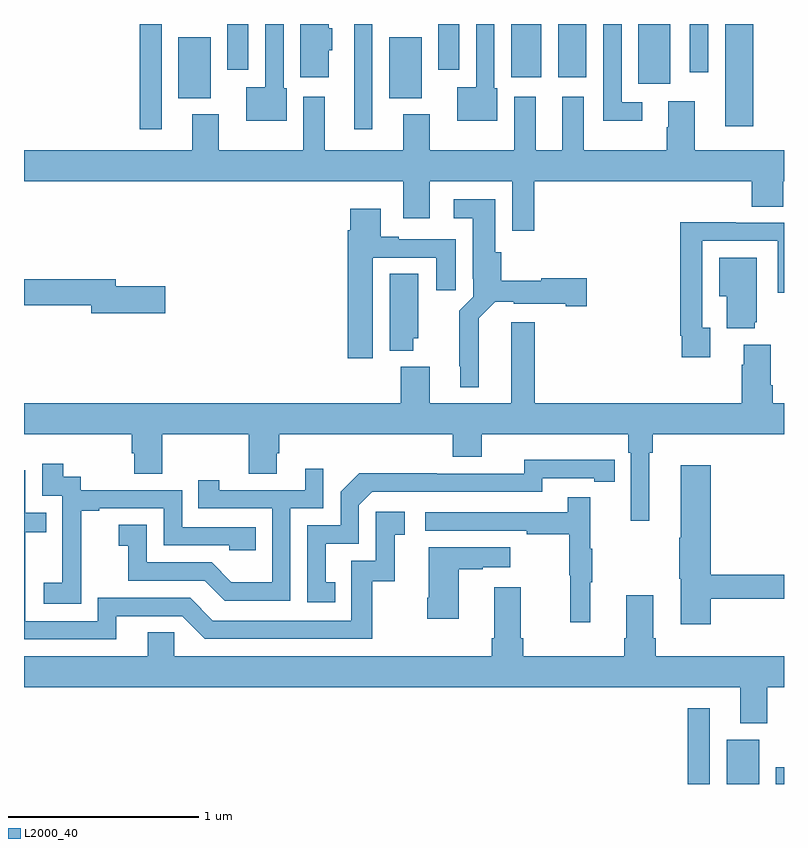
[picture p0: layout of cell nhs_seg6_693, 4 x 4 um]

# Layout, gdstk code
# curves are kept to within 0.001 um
import gdstk
lib = gdstk.Library(unit=1e-6, precision=1e-09)
def R(c, l, rs):  # rectangles x0, y0, x1, y1
    for r in rs: c.add(gdstk.rectangle(r[:2], r[2:], *l))
def P(c, l, *ps):  # polygons
    for p in ps: c.add(gdstk.Polygon(p, *l))
L2000_40 = (2000, 40)

nhs_seg6_693 = lib.new_cell('nhs_seg6_693')
R(nhs_seg6_693, L2000_40, [(158.494,941.5,158.61,941.899), (158.699,941.5,158.869,941.734), (158.957,941.5,159,941.587), (155.608,944.946,155.724,945.5), (158.69,944.961,158.837,945.5), (155.813,945.11,155.983,945.43), (156.923,945.11,157.093,945.43), (158.234,945.186,158.401,945.5), (157.565,945.219,157.723,945.5), (157.811,945.219,157.96,945.5), (158.505,945.246,158.601,945.5), (156.071,945.258,156.181,945.5), (157.181,945.258,157.291,945.5)])
P(nhs_seg6_693, L2000_40, [(156.382,945.162),(156.366,945.162),(156.366,945.5),(156.27,945.5),(156.27,945.166),(156.17,945.166),(156.17,944.99),(156.382,944.99)],
  [(158.254,945.087),(158.145,945.087),(158.145,945.5),(158.049,945.5),(158.049,944.99),(158.254,944.99)],
  [(156.604,945.363),(156.622,945.363),(156.622,945.477),(156.604,945.477),(156.604,945.5),(156.455,945.5),(156.455,945.219),(156.604,945.219)],
  [(157.492,945.162),(157.476,945.162),(157.476,945.5),(157.38,945.5),(157.38,945.166),(157.28,945.166),(157.28,944.99),(157.492,944.99)],
  [(156.834,945.5),(156.738,945.5),(156.738,945.231),(156.737,945.231),(156.737,944.946),(156.834,944.946)],
  [(157.685,944.672),(158.831,944.672),(158.831,944.539),(158.996,944.539),(158.996,944.672),(159,944.672),(159,944.836),(158.53,944.836),(158.53,945.094),(158.39,945.094),(158.39,944.957),(158.383,944.957),(158.383,944.836),(157.945,944.836),(157.945,945.118),(157.832,945.118),(157.832,944.836),(157.693,944.836),(157.693,945.118),(157.58,945.118),(157.58,944.836),(157.135,944.836),(157.135,945.025),(156.995,945.025),(156.995,944.836),(156.583,944.836),(156.583,945.118),(156.47,945.118),(156.47,944.836),(156.025,944.836),(156.025,945.025),(155.885,945.025),(155.885,944.836),(155,944.836),(155,944.672),(156.995,944.672),(156.995,944.478),(157.135,944.478),(157.135,944.672),(157.569,944.672),(157.569,944.412),(157.685,944.412)],
  [(157.393,943.952),(157.479,944.039),(157.578,944.039),(157.578,944.027),(157.85,944.027),(157.85,944.015),(157.963,944.015),(157.963,944.162),(157.722,944.162),(157.722,944.149),(157.511,944.149),(157.511,944.298),(157.48,944.298),(157.48,944.578),(157.263,944.578),(157.263,944.477),(157.361,944.477),(157.361,944.158),(157.365,944.158),(157.365,944.064),(157.291,943.99),(157.291,943.699),(157.295,943.699),(157.295,943.589),(157.393,943.589)],
  [(156.835,944.271),(157.169,944.271),(157.169,944.1),(157.273,944.1),(157.273,944.367),(156.973,944.367),(156.973,944.38),(156.877,944.38),(156.877,944.527),(156.716,944.527),(156.716,944.414),(156.704,944.414),(156.704,943.74),(156.835,943.74)],
  [(158.611,943.902),(158.571,943.902),(158.571,944.358),(158.967,944.358),(158.967,944.085),(159,944.085),(159,944.454),(158.747,944.454),(158.747,944.456),(158.455,944.456),(158.455,943.858),(158.463,943.858),(158.463,943.746),(158.611,943.746)],
  [(158.846,943.929),(158.857,943.929),(158.857,944.269),(158.66,944.269),(158.66,944.066),(158.699,944.066),(158.699,943.898),(158.846,943.898)],
  [(157.048,943.845),(157.075,943.845),(157.075,944.186),(156.926,944.186),(156.926,943.781),(157.048,943.781)],
  [(155.743,944.12),(155.482,944.12),(155.482,944.156),(155,944.156),(155,944.02),(155.354,944.02),(155.354,943.978),(155.743,943.978)],
  [(155,943.34),(155.567,943.34),(155.567,943.242),(155.579,943.242),(155.579,943.132),(155.727,943.132),(155.727,943.34),(156.184,943.34),(156.184,943.132),(156.331,943.132),(156.331,943.242),(156.344,943.242),(156.344,943.34),(157.256,943.34),(157.256,943.223),(157.408,943.223),(157.408,943.34),(158.18,943.34),(158.18,943.244),(158.193,943.244),(158.193,942.885),(158.29,942.885),(158.29,943.244),(158.309,943.244),(158.309,943.34),(159,943.34),(159,943.504),(158.942,943.504),(158.942,943.6),(158.929,943.6),(158.929,943.813),(158.789,943.813),(158.789,943.706),(158.777,943.706),(158.777,943.504),(157.688,943.504),(157.688,943.93),(157.565,943.93),(157.565,943.504),(157.135,943.504),(157.135,943.696),(156.983,943.696),(156.983,943.504),(155,943.504)],
  [(156.638,942.561),(156.589,942.561),(156.589,942.765),(156.762,942.765),(156.762,942.966),(156.834,943.038),(157.728,943.038),(157.728,943.11),(158,943.11),(158,943.09),(158.108,943.09),(158.108,943.206),(157.632,943.207),(157.632,943.134),(157.172,943.134),(157.172,943.136),(156.764,943.136),(156.666,943.038),(156.666,942.861),(156.492,942.861),(156.492,942.456),(156.638,942.456)],
  [(155.301,942.655),(155.3,942.655),(155.3,942.939),(155.395,942.939),(155.395,942.951),(155.736,942.951),(155.736,942.756),(156.081,942.756),(156.081,942.729),(156.221,942.729),(156.221,942.852),(155.832,942.852),(155.832,943.047),(155.298,943.047),(155.298,943.116),(155.206,943.116),(155.206,943.186),(155.097,943.186),(155.097,943.017),(155.202,943.017),(155.202,942.788),(155.201,942.788),(155.201,942.559),(155.103,942.559),(155.103,942.449),(155.301,942.449)],
  [(158.615,942.474),(159,942.474),(159,942.602),(158.615,942.602),(158.615,943.177),(158.456,943.177),(158.456,942.797),(158.449,942.797),(158.449,942.579),(158.456,942.579),(158.456,942.342),(158.615,942.342)],
  [(156.402,942.951),(156.576,942.951),(156.576,943.159),(156.479,943.159),(156.479,943.047),(156.028,943.047),(156.028,943.099),(155.917,943.099),(155.917,942.951),(156.306,942.951),(156.306,942.562),(156.092,942.562),(155.988,942.666),(155.646,942.666),(155.646,942.865),(155.499,942.865),(155.499,942.755),(155.548,942.755),(155.548,942.57),(155.951,942.57),(156.056,942.465),(156.402,942.465)],
  [(155.485,942.384),(155.832,942.384),(155.952,942.264),(156.832,942.264),(156.832,942.567),(156.95,942.567),(156.95,942.813),(157.003,942.813),(157.003,942.934),(156.852,942.934),(156.852,942.675),(156.723,942.675),(156.723,942.36),(155.994,942.36),(155.874,942.48),(155.388,942.48),(155.388,942.357),(155.007,942.357),(155.007,942.826),(155.117,942.826),(155.117,942.927),(155.007,942.927),(155.007,943.152),(155,943.152),(155,942.261),(155.485,942.261)],
  [(157.979,942.563),(157.99,942.563),(157.99,942.737),(157.979,942.737),(157.979,943.009),(157.861,943.009),(157.861,942.93),(157.113,942.93),(157.113,942.834),(157.645,942.834),(157.645,942.814),(157.869,942.814),(157.869,942.6),(157.876,942.6),(157.876,942.351),(157.979,942.351)],
  [(157.288,942.631),(157.415,942.631),(157.415,942.641),(157.558,942.641),(157.558,942.745),(157.13,942.745),(157.13,942.481),(157.123,942.481),(157.123,942.369),(157.288,942.369)],
  [(158.911,942.008),(159,942.008),(159,942.172),(158.324,942.172),(158.324,942.268),(158.311,942.268),(158.311,942.493),(158.171,942.493),(158.171,942.268),(158.159,942.268),(158.159,942.172),(157.628,942.172),(157.628,942.268),(157.615,942.268),(157.615,942.535),(157.475,942.535),(157.475,942.268),(157.463,942.268),(157.463,942.172),(155.79,942.172),(155.79,942.299),(155.651,942.299),(155.651,942.172),(155,942.172),(155,942.008),(158.771,942.008),(158.771,941.819),(158.911,941.819)])

lib.write_gds('nhs_seg6_693.gds')
